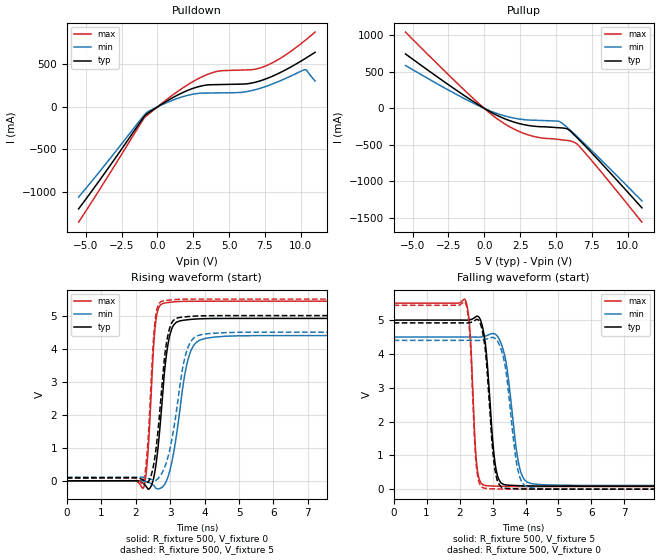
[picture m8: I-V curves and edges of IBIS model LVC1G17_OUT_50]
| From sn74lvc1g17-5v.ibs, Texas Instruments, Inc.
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[Model]   LVC1G17_OUT_50
Model_type  Output
Vref =   0
Rref =   500
Cref =   50p
Vmeas =   2.5
| variable   typ   min   max
C_comp   8.84pF   5.46pF   12.36pF
| C_pullup   9.69pF   5.46pF   12.36pF
| C_pulldown   7.99pF   5.90pF   10.96pF
[Temperature Range]   40   100   -40
| Ambient temperature   25   85   -40
[Voltage range]   5   4.5   5.5
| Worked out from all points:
|   slope of the pulldown table from 0 to 0.75 V, typ, clamps not added: 9.58 ohm
|   slope of the pullup table from 0 to 0.75 V, typ, clamps not added: 9.16 ohm
|   rising waveform, R_fixture 500, V_fixture 0: 20-80 % time 263ps typ, 377ps min, 169ps max; typ from 0 V to 4.91 V
|   falling waveform, R_fixture 500, V_fixture 5: 20-80 % time 227ps typ, 319ps min, 152ps max; typ from 5 V to 0.09 V
|   rising waveform, R_fixture 500, V_fixture 5: 20-80 % time 269ps typ, 405ps min, 172ps max; typ from 0.09 V to 5 V
|   falling waveform, R_fixture 500, V_fixture 0: 20-80 % time 223ps typ, 309ps min, 151ps max; typ from 4.92 V to 0 V
[Pulldown]
| LVC1G17_OUT_50
|   Voltage   I(typ)   I(min)   I(max)
-5.5V     -1.198A    -1.059A    -1.354A
-970mV    -125.1mA   -106.1mA   -141.7mA
-675mV    -74.35mA   -56.48mA   -92.74mA
205mV     22.29mA    16.59mA    27.99mA
1.905V    179.2mA    127mA      238mA
3.285V    253.2mA    162.4mA    367.3mA
4.325V    262.7mA    164.8mA    422.2mA
5.815V    267.8mA    170.7mA    433mA
7.31V     313.8mA    226.4mA    466mA
8.65V     410.1mA    312.7mA    578.8mA
10.28V    565mA      437.4mA    777.7mA
11V       641.2mA    305.2mA    879.1mA
[Pullup]
| LVC1G17_OUT_50
|   Voltage   I(typ)   I(min)   I(max)
-5.5V     745.2mA    587.5mA    1.044A
-1.18V    147.6mA    112.6mA    211.7mA
170mV     -19.98mA   -14.91mA   -29.14mA
1.04V     -109.2mA   -79.97mA   -161.6mA
2.045V    -185.4mA   -131.8mA   -280mA
3.05V     -232.7mA   -158.7mA   -361.3mA
3.945V    -250.5mA   -165.3mA   -402.5mA
5.3V      -265.9mA   -185.4mA   -427.7mA
5.83V     -285.1mA   -268.2mA   -440mA
6.525V    -410.2mA   -394.3mA   -498.1mA
8.085V    -732.8mA   -692.6mA   -852.4mA
11V       -1.361A    -1.267A    -1.557A
[Ramp]
| LVC1G17_OUT_50
| variable   typ   min   max
dV/dt_r   3.10/2.83E-10   2.78/4.08E-10   3.40/1.80E-10
dV/dt_f   3.02/2.40E-10   2.70/3.38E-10   3.33/1.58E-10
R_load = 500
[Rising Waveform]
| LVC1G17_OUT_50
R_fixture =   500
C_fixture =   0
L_fixture =   0
V_fixture =   0
V_fixture_min = 0
V_fixture_max = 0
|   Time   V(typ)   V(min)   V(max)
0s        181.8pV    4.248nV    2.638nV
2.225ns   -81.72mV   -2.134mV   -215.3mV
2.35ns    -243.1mV   -36.84mV   768.9mV
2.57ns    354.6mV    -203.6mV   4.7V
2.805ns   2.889V     -157.4mV   5.371V
2.935ns   4.11V      110.8mV    5.394V
3.09ns    4.693V     781.4mV    5.414V
3.52ns    4.876V     3.671V     5.433V
4.01ns    4.907V     4.306V     5.435V
22.4ns    4.914V     4.397V     5.435V
[Falling Waveform]
| LVC1G17_OUT_50
R_fixture =   500
C_fixture =   0
L_fixture =   0
V_fixture =   5
V_fixture_min = 4.5
V_fixture_max = 5.5
|   Time   V(typ)   V(min)   V(max)
0s        5V         4.5V       5.5V
2.18ns    4.998V     4.5V       5.582V
2.325ns   5.01V      4.5V       4.549V
2.52ns    5.114V     4.497V     733.2mV
2.75ns    4.522V     4.518V     116.2mV
3.075ns   777mV      4.585V     90.43mV
3.365ns   130.7mV    3.966V     83.52mV
3.795ns   103.5mV    748.1mV    80.28mV
4.17ns    94.48mV    165.6mV    79.47mV
22.4ns    89.64mV    107.6mV    78.98mV
[Rising Waveform]
| LVC1G17_OUT_50
R_fixture =   500
C_fixture =   0
L_fixture =   0
V_fixture =   5
V_fixture_min = 4.5
V_fixture_max = 5.5
|   Time   V(typ)   V(min)   V(max)
0s        89.62mV    107.6mV    78.96mV
2.21ns    29.94mV    108.2mV    -72.64mV
2.34ns    -44.54mV   79.52mV    958.8mV
2.555ns   696.1mV    8.655mV    4.764V
2.755ns   2.776V     223.6mV    5.435V
2.89ns    4.145V     551.5mV    5.459V
3.06ns    4.803V     1.303V     5.479V
3.45ns    4.963V     3.811V     5.497V
3.905ns   4.992V     4.423V     5.5V
22.4ns    5V         4.5V       5.5V
[Falling Waveform]
| LVC1G17_OUT_50
R_fixture =   500
C_fixture =   0
L_fixture =   0
V_fixture =   0
V_fixture_min = 0
V_fixture_max = 0
|   Time   V(typ)   V(min)   V(max)
0s        4.917V     4.401V     5.437V
2.175ns   4.915V     4.401V     5.512V
2.32ns    4.926V     4.401V     4.447V
2.51ns    5.016V     4.398V     673.1mV
2.745ns   4.381V     4.418V     30.34mV
3.06ns    664.5mV    4.469V     9.933mV
3.355ns   30.51mV    3.774V     4.069mV
3.76ns    11.65mV    611.1mV    1.29mV
4.145ns   3.993mV    42.49mV    494.7uV
22.4ns    17.3uV     23.17uV    17.91uV
